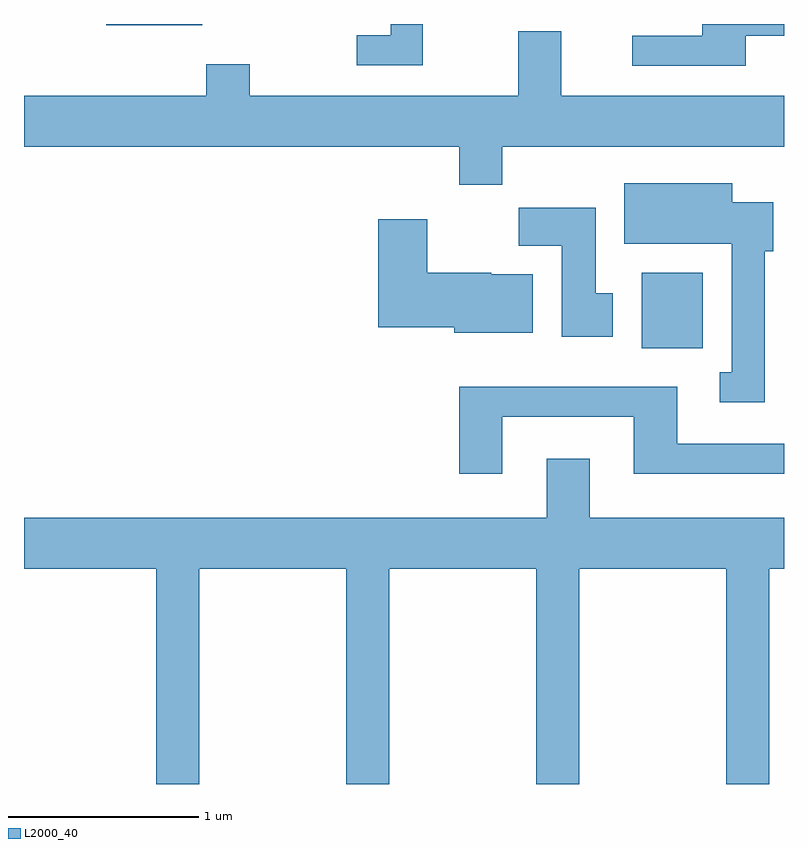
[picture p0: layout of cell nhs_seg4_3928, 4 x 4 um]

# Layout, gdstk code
import gdstk
lib = gdstk.Library(unit=1e-6, precision=1e-09)
def R(c, l, rs):  # rectangles x0, y0, x1, y1
    for r in rs: c.add(gdstk.rectangle(r[:2], r[2:], *l))
def P(c, l, *ps):  # polygons
    for p in ps: c.add(gdstk.Polygon(p, *l))
L2000_40 = (2000, 40)

nhs_seg4_3928 = lib.new_cell('nhs_seg4_3928')
R(nhs_seg4_3928, L2000_40, [(302.861,1360.276,303.184,1360.674), (300.043,1361.976,300.549,1361.982)])
P(nhs_seg4_3928, L2000_40, [(301.709,1361.982),(301.541,1361.982),(301.541,1361.924),(301.363,1361.924),(301.363,1361.766),(301.709,1361.766)],
  [(303.409,1361.921),(303.611,1361.921),(303.611,1361.982),(303.181,1361.982),(303.181,1361.919),(302.813,1361.919),(302.813,1361.761),(303.409,1361.761)],
  [(302.129,1361.336),(303.611,1361.336),(303.611,1361.604),(302.439,1361.604),(302.439,1361.944),(302.211,1361.944),(302.211,1361.604),(300.799,1361.604),(300.799,1361.769),(300.571,1361.769),(300.571,1361.604),(299.611,1361.604),(299.611,1361.336),(301.901,1361.336),(301.901,1361.136),(302.129,1361.136)],
  [(303.509,1360.786),(303.554,1360.786),(303.554,1361.044),(303.339,1361.044),(303.339,1361.144),(302.771,1361.144),(302.771,1360.826),(303.336,1360.826),(303.336,1360.149),(303.273,1360.149),(303.273,1359.991),(303.509,1359.991)],
  [(302.709,1360.564),(302.619,1360.564),(302.619,1361.014),(302.216,1361.014),(302.216,1360.816),(302.441,1360.816),(302.441,1360.336),(302.709,1360.336)],
  [(302.289,1360.664),(302.07,1360.664),(302.07,1360.674),(301.734,1360.674),(301.734,1360.954),(301.476,1360.954),(301.476,1360.386),(301.876,1360.386),(301.876,1360.356),(302.289,1360.356)],
  [(302.129,1359.916),(302.821,1359.916),(302.821,1359.616),(303.611,1359.616),(303.611,1359.774),(303.049,1359.774),(303.049,1360.074),(301.901,1360.074),(301.901,1359.616),(302.129,1359.616)],
  [(300.534,1359.116),(301.306,1359.116),(301.306,1357.982),(301.534,1357.982),(301.534,1359.116),(302.306,1359.116),(302.306,1357.982),(302.534,1357.982),(302.534,1359.116),(303.306,1359.116),(303.306,1357.982),(303.534,1357.982),(303.534,1359.116),(303.611,1359.116),(303.611,1359.384),(302.589,1359.384),(302.589,1359.694),(302.361,1359.694),(302.361,1359.384),(299.611,1359.384),(299.611,1359.116),(300.306,1359.116),(300.306,1357.982),(300.534,1357.982)])

lib.write_gds('nhs_seg4_3928.gds')
